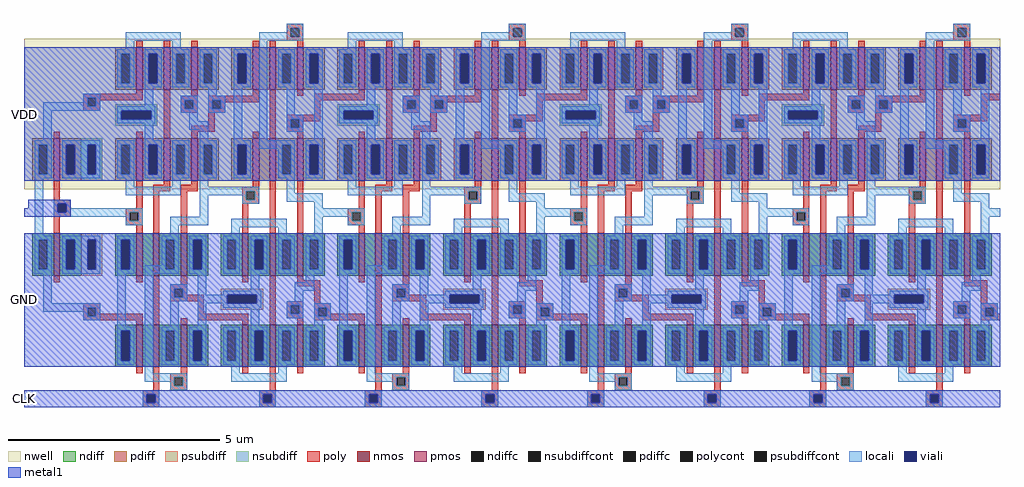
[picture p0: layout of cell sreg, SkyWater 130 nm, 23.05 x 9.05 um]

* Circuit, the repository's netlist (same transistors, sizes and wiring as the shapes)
* SPICE3 file created from sreg.ext - technology: sky130A

.subckt sreginv a_n400_820# a_n370_850# a_n500_850# w_n540_1260#
X0 a_n370_850# a_n400_820# a_n500_850# a_n370_850# sky130_fd_pr__nfet_01v8 ad=0.5 pd=3 as=0.5 ps=3 w=1 l=0.15
X1 w_n540_1260# a_n400_820# a_n500_850# w_n540_1260# sky130_fd_pr__pfet_01v8 ad=0.5 pd=3 as=0.5 ps=3 w=1 l=0.15
.ends

.subckt negdff3 D Db1 Db2 Q Qb1 VP VN a_20_230#
X0 a_570_1300# a_100_850# VP VP sky130_fd_pr__pfet_01v8 ad=0.125 pd=1.25 as=0.5 ps=3 w=1 l=0.15
X1 VP Q Qb1 VP sky130_fd_pr__pfet_01v8 ad=0.5 pd=3 as=0.25 ps=1.5 w=1 l=0.15
X2 Qb1 a_20_230# a_570_1730# VP sky130_fd_pr__pfet_01v8 ad=0.25 pd=1.5 as=0.125 ps=1.25 w=1 l=0.15
X3 VP Qb1 Q VP sky130_fd_pr__pfet_01v8 ad=0.5 pd=3 as=0.25 ps=1.5 w=1 l=0.15
X4 VN a_100_420# a_100_850# VN sky130_fd_pr__nfet_01v8 ad=0.5 pd=3 as=0.25 ps=1.5 w=1 l=0.15
X5 a_100_420# a_100_850# a_n110_1730# VP sky130_fd_pr__pfet_01v8 ad=0.5 pd=3 as=0.25 ps=1.5 w=1 l=0.15
X6 VN a_100_850# a_390_850# VN sky130_fd_pr__nfet_01v8 ad=0.25 pd=1.5 as=0.5 ps=3 w=1 l=0.15
X7 Q a_20_230# a_570_1300# VP sky130_fd_pr__pfet_01v8 ad=0.25 pd=1.5 as=0.125 ps=1.25 w=1 l=0.15
X8 VN a_100_850# a_100_420# VN sky130_fd_pr__nfet_01v8 ad=0.5 pd=3 as=0.25 ps=1.5 w=1 l=0.15
X9 a_n110_1730# a_20_230# VP VP sky130_fd_pr__pfet_01v8 ad=0.25 pd=1.5 as=0.25 ps=1.5 w=1 l=0.15
X10 a_100_850# a_20_230# a_20_850# VN sky130_fd_pr__nfet_01v8 ad=0.25 pd=1.5 as=0.125 ps=1.25 w=1 l=0.15
X11 a_100_850# a_100_420# a_n110_1300# VP sky130_fd_pr__pfet_01v8 ad=0.5 pd=3 as=0.25 ps=1.5 w=1 l=0.15
X12 Q Qb1 a_390_850# VN sky130_fd_pr__nfet_01v8 ad=0.5 pd=3 as=0.25 ps=1.5 w=1 l=0.15
X13 VN a_100_420# a_390_420# VN sky130_fd_pr__nfet_01v8 ad=0.25 pd=1.5 as=0.5 ps=3 w=1 l=0.15
X14 VP Db1 a_n110_1730# VP sky130_fd_pr__pfet_01v8 ad=0.25 pd=1.5 as=0.5 ps=3 w=1 l=0.15
X15 a_390_850# a_20_230# VN VN sky130_fd_pr__nfet_01v8 ad=0.25 pd=1.5 as=0.25 ps=1.5 w=1 l=0.15
X16 a_n110_1300# a_20_230# VP VP sky130_fd_pr__pfet_01v8 ad=0.25 pd=1.5 as=0.25 ps=1.5 w=1 l=0.15
X17 a_20_850# D VN VN sky130_fd_pr__nfet_01v8 ad=0.125 pd=1.25 as=0.5 ps=3 w=1 l=0.15
X18 a_100_420# a_20_230# a_20_420# VN sky130_fd_pr__nfet_01v8 ad=0.25 pd=1.5 as=0.125 ps=1.25 w=1 l=0.15
X19 Qb1 Q a_390_420# VN sky130_fd_pr__nfet_01v8 ad=0.5 pd=3 as=0.25 ps=1.5 w=1 l=0.15
X20 VP D a_n110_1300# VP sky130_fd_pr__pfet_01v8 ad=0.25 pd=1.5 as=0.5 ps=3 w=1 l=0.15
X21 a_390_420# a_20_230# VN VN sky130_fd_pr__nfet_01v8 ad=0.25 pd=1.5 as=0.25 ps=1.5 w=1 l=0.15
X22 a_20_420# Db2 VN VN sky130_fd_pr__nfet_01v8 ad=0.125 pd=1.25 as=0.5 ps=3 w=1 l=0.15
X23 a_570_1730# a_100_420# VP VP sky130_fd_pr__pfet_01v8 ad=0.125 pd=1.25 as=0.5 ps=3 w=1 l=0.15
.ends


Xsreginv_0 negdff3_0/D GND negdff3_0/Db2 VDD sreginv
Xnegdff3_0 negdff3_0/D negdff3_0/Db2 negdff3_0/Db2 negdff3_1/D negdff3_1/Db2 VDD GND
+ CLK negdff3
Xnegdff3_1 negdff3_1/D negdff3_1/Db2 negdff3_1/Db2 negdff3_2/D negdff3_2/Db2 VDD GND
+ CLK negdff3
Xnegdff3_2 negdff3_2/D negdff3_2/Db2 negdff3_2/Db2 negdff3_3/D negdff3_3/Db2 VDD GND
+ CLK negdff3
Xnegdff3_3 negdff3_3/D negdff3_3/Db2 negdff3_3/Db2 negdff3_3/Q negdff3_3/Qb1 VDD GND
+ CLK negdff3
.ends

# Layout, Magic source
magic
tech sky130A
<< locali >>
rect 425 865 465 905
rect 950 865 990 905
rect 1475 865 1515 905
rect 2000 865 2040 905
<< metal1 >>
rect -195 535 -175 850
rect -195 450 -175 470
rect -195 95 -175 410
rect -195 0 10 40
use negdff3  negdff3_0
transform 1 0 75 0 1 -115
box -75 115 460 1020
use negdff3  negdff3_1
transform 1 0 600 0 1 -115
box -75 115 460 1020
use negdff3  negdff3_2
transform 1 0 1125 0 1 -115
box -75 115 460 1020
use negdff3  negdff3_3
transform 1 0 1650 0 1 -115
box -75 115 460 1020
use sreginv  sreginv_0
transform 1 0 75 0 1 -115
box -270 210 -65 985
<< labels >>
flabel metal1 -195 20 -195 20 7 FreeSans 80 0 -40 0 CLK
flabel metal1 -195 255 -195 255 7 FreeSans 80 0 -40 0 GND
flabel metal1 -195 690 -195 690 7 FreeSans 80 0 -40 0 VDD
<< end >>

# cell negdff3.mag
magic
tech sky130A
<< nwell >>
rect -75 630 460 985
<< nmos >>
rect -5 425 10 525
rect 35 425 50 525
rect 100 425 115 525
rect 245 425 260 525
rect 310 425 325 525
rect 375 425 390 525
rect -5 210 10 310
rect 35 210 50 310
rect 100 210 115 310
rect 245 210 260 310
rect 310 210 325 310
rect 375 210 390 310
<< pmos >>
rect -5 865 10 965
rect 60 865 75 965
rect 125 865 140 965
rect 270 865 285 965
rect 310 865 325 965
rect 375 865 390 965
rect -5 650 10 750
rect 60 650 75 750
rect 125 650 140 750
rect 270 650 285 750
rect 310 650 325 750
rect 375 650 390 750
<< ndiff >>
rect -55 510 -5 525
rect -55 440 -40 510
rect -20 440 -5 510
rect -55 425 -5 440
rect 10 425 35 525
rect 50 510 100 525
rect 50 440 65 510
rect 85 440 100 510
rect 50 425 100 440
rect 115 510 165 525
rect 115 440 130 510
rect 150 440 165 510
rect 115 425 165 440
rect 195 510 245 525
rect 195 440 210 510
rect 230 440 245 510
rect 195 425 245 440
rect 260 510 310 525
rect 260 440 275 510
rect 295 440 310 510
rect 260 425 310 440
rect 325 510 375 525
rect 325 440 340 510
rect 360 440 375 510
rect 325 425 375 440
rect 390 510 440 525
rect 390 440 405 510
rect 425 440 440 510
rect 390 425 440 440
rect -55 295 -5 310
rect -55 225 -40 295
rect -20 225 -5 295
rect -55 210 -5 225
rect 10 210 35 310
rect 50 295 100 310
rect 50 225 65 295
rect 85 225 100 295
rect 50 210 100 225
rect 115 295 165 310
rect 115 225 130 295
rect 150 225 165 295
rect 115 210 165 225
rect 195 295 245 310
rect 195 225 210 295
rect 230 225 245 295
rect 195 210 245 225
rect 260 295 310 310
rect 260 225 275 295
rect 295 225 310 295
rect 260 210 310 225
rect 325 295 375 310
rect 325 225 340 295
rect 360 225 375 295
rect 325 210 375 225
rect 390 295 440 310
rect 390 225 405 295
rect 425 225 440 295
rect 390 210 440 225
<< pdiff >>
rect -55 950 -5 965
rect -55 880 -40 950
rect -20 880 -5 950
rect -55 865 -5 880
rect 10 950 60 965
rect 10 880 25 950
rect 45 880 60 950
rect 10 865 60 880
rect 75 950 125 965
rect 75 880 90 950
rect 110 880 125 950
rect 75 865 125 880
rect 140 950 190 965
rect 140 880 155 950
rect 175 880 190 950
rect 140 865 190 880
rect 220 950 270 965
rect 220 880 235 950
rect 255 880 270 950
rect 220 865 270 880
rect 285 865 310 965
rect 325 950 375 965
rect 325 880 340 950
rect 360 880 375 950
rect 325 865 375 880
rect 390 950 440 965
rect 390 880 405 950
rect 425 880 440 950
rect 390 865 440 880
rect -55 735 -5 750
rect -55 665 -40 735
rect -20 665 -5 735
rect -55 650 -5 665
rect 10 735 60 750
rect 10 665 25 735
rect 45 665 60 735
rect 10 650 60 665
rect 75 735 125 750
rect 75 665 90 735
rect 110 665 125 735
rect 75 650 125 665
rect 140 735 190 750
rect 140 665 155 735
rect 175 665 190 735
rect 140 650 190 665
rect 220 735 270 750
rect 220 665 235 735
rect 255 665 270 735
rect 220 650 270 665
rect 285 650 310 750
rect 325 735 375 750
rect 325 665 340 735
rect 360 665 375 735
rect 325 650 375 665
rect 390 735 440 750
rect 390 665 405 735
rect 425 665 440 735
rect 390 650 440 665
<< ndiffc >>
rect -40 440 -20 510
rect 65 440 85 510
rect 130 440 150 510
rect 210 440 230 510
rect 275 440 295 510
rect 340 440 360 510
rect 405 440 425 510
rect -40 225 -20 295
rect 65 225 85 295
rect 130 225 150 295
rect 210 225 230 295
rect 275 225 295 295
rect 340 225 360 295
rect 405 225 425 295
<< pdiffc >>
rect -40 880 -20 950
rect 25 880 45 950
rect 90 880 110 950
rect 155 880 175 950
rect 235 880 255 950
rect 340 880 360 950
rect 405 880 425 950
rect -40 665 -20 735
rect 25 665 45 735
rect 90 665 110 735
rect 155 665 175 735
rect 235 665 255 735
rect 340 665 360 735
rect 405 665 425 735
<< psubdiff >>
rect 195 380 295 395
rect 195 360 210 380
rect 280 360 295 380
rect 195 345 295 360
<< nsubdiff >>
rect -55 815 45 830
rect -55 795 -40 815
rect 30 795 45 815
rect -55 780 45 795
<< psubdiffcont >>
rect 210 360 280 380
<< nsubdiffcont >>
rect -40 795 30 815
<< poly >>
rect 350 1010 390 1020
rect 350 990 360 1010
rect 380 990 390 1010
rect 350 980 390 990
rect -5 965 10 980
rect 60 965 75 980
rect 125 965 140 980
rect 270 965 285 980
rect 310 965 325 980
rect 375 965 390 980
rect -5 855 10 865
rect -65 840 10 855
rect -5 750 10 765
rect 60 750 75 865
rect 125 850 140 865
rect 270 850 285 865
rect 100 840 140 850
rect 100 820 110 840
rect 130 820 140 840
rect 100 810 140 820
rect 165 840 285 850
rect 165 820 175 840
rect 195 835 285 840
rect 195 820 205 835
rect 165 810 205 820
rect 165 780 180 810
rect 125 765 180 780
rect 125 750 140 765
rect 270 750 285 765
rect 310 750 325 865
rect 375 850 390 865
rect 415 840 460 855
rect 415 805 430 840
rect 350 795 430 805
rect 350 775 360 795
rect 380 790 430 795
rect 380 775 390 790
rect 350 765 390 775
rect 375 750 390 765
rect -5 585 10 650
rect 60 640 75 650
rect 125 640 140 650
rect -30 575 10 585
rect -30 555 -20 575
rect 0 555 10 575
rect -30 545 10 555
rect -5 525 10 545
rect 35 625 75 640
rect 100 625 140 640
rect 270 635 285 650
rect 245 625 285 635
rect 35 525 50 625
rect 100 525 115 625
rect 245 605 255 625
rect 275 605 285 625
rect 245 595 285 605
rect 245 525 260 595
rect 310 525 325 650
rect 375 525 390 650
rect -5 410 10 425
rect -65 320 10 335
rect -5 310 10 320
rect 35 310 50 425
rect 100 405 115 425
rect 245 410 260 425
rect 75 395 115 405
rect 75 375 85 395
rect 105 380 115 395
rect 105 375 155 380
rect 75 365 155 375
rect 140 335 155 365
rect 100 310 115 325
rect 140 320 260 335
rect 245 310 260 320
rect 310 310 325 425
rect 375 415 390 425
rect 375 400 430 415
rect 350 355 390 365
rect 350 335 360 355
rect 380 335 390 355
rect 350 325 390 335
rect 375 310 390 325
rect 415 360 430 400
rect 415 350 455 360
rect 415 330 425 350
rect 445 335 455 350
rect 445 330 460 335
rect 415 320 460 330
rect -5 195 10 210
rect 35 155 50 210
rect 100 195 115 210
rect 245 195 260 210
rect 75 185 115 195
rect 75 165 85 185
rect 105 165 115 185
rect 75 155 115 165
rect 310 155 325 210
rect 375 195 390 210
rect 10 145 50 155
rect 10 125 20 145
rect 40 125 50 145
rect 10 115 50 125
rect 285 145 325 155
rect 285 125 295 145
rect 315 125 325 145
rect 285 115 325 125
<< polycont >>
rect 360 990 380 1010
rect 110 820 130 840
rect 175 820 195 840
rect 360 775 380 795
rect -20 555 0 575
rect 255 605 275 625
rect 85 375 105 395
rect 360 335 380 355
rect 425 330 445 350
rect 85 165 105 185
rect 20 125 40 145
rect 295 125 315 145
<< locali >>
rect 350 1010 390 1020
rect 350 1000 360 1010
rect -30 980 100 1000
rect -30 960 -10 980
rect 80 960 100 980
rect 285 990 360 1000
rect 380 990 390 1010
rect 285 980 390 990
rect -50 950 -10 960
rect -50 880 -40 950
rect -20 880 -10 950
rect -50 870 -10 880
rect 15 950 55 960
rect 15 880 25 950
rect 45 880 55 950
rect 15 870 55 880
rect 80 950 120 960
rect 80 880 90 950
rect 110 880 120 950
rect 80 870 120 880
rect 145 950 185 960
rect 145 880 155 950
rect 175 880 185 950
rect 145 870 185 880
rect 15 825 35 870
rect 165 850 185 870
rect 225 950 265 960
rect 225 880 235 950
rect 255 880 265 950
rect 225 870 265 880
rect 100 840 140 850
rect -50 815 40 825
rect -50 795 -40 815
rect 30 795 40 815
rect 100 820 110 840
rect 130 820 140 840
rect 100 810 140 820
rect 165 840 205 850
rect 165 820 175 840
rect 195 820 205 840
rect 165 810 205 820
rect -50 785 40 795
rect 120 790 140 810
rect 15 745 35 785
rect 120 770 165 790
rect 145 745 165 770
rect 225 745 245 870
rect 285 745 305 980
rect 330 950 370 960
rect 330 880 340 950
rect 360 880 370 950
rect 330 870 370 880
rect 395 950 435 960
rect 395 880 405 950
rect 425 880 435 950
rect 395 870 435 880
rect 350 805 370 870
rect 350 795 390 805
rect 350 775 360 795
rect 380 775 390 795
rect 350 765 390 775
rect 415 745 435 870
rect -50 735 -10 745
rect -50 665 -40 735
rect -20 665 -10 735
rect -50 655 -10 665
rect 15 735 55 745
rect 15 665 25 735
rect 45 665 55 735
rect 15 655 55 665
rect 80 735 120 745
rect 80 665 90 735
rect 110 665 120 735
rect 80 655 120 665
rect 145 735 185 745
rect 145 665 155 735
rect 175 665 185 735
rect 145 655 185 665
rect 225 735 265 745
rect 225 665 235 735
rect 255 665 265 735
rect 285 735 370 745
rect 285 725 340 735
rect 225 655 265 665
rect 330 665 340 725
rect 360 665 370 735
rect 330 655 370 665
rect 395 735 435 745
rect 395 665 405 735
rect 425 665 435 735
rect 395 655 435 665
rect -30 635 -10 655
rect 80 635 100 655
rect -30 615 100 635
rect 145 635 165 655
rect 145 625 285 635
rect 145 615 255 625
rect -70 575 10 585
rect -70 565 -20 575
rect -30 555 -20 565
rect 0 555 10 575
rect 145 565 165 615
rect 245 605 255 615
rect 275 605 285 625
rect 245 595 285 605
rect 350 620 370 655
rect 350 600 435 620
rect -30 545 10 555
rect 75 545 165 565
rect 415 585 435 600
rect 415 565 460 585
rect 75 520 95 545
rect 220 540 350 560
rect 220 520 240 540
rect 330 520 350 540
rect 415 520 435 565
rect -50 510 -10 520
rect -50 440 -40 510
rect -20 440 -10 510
rect 55 510 95 520
rect 55 450 65 510
rect -50 430 -10 440
rect 15 440 65 450
rect 85 440 95 510
rect 15 430 95 440
rect 120 510 160 520
rect 120 440 130 510
rect 150 440 160 510
rect 120 430 160 440
rect 200 510 240 520
rect 200 440 210 510
rect 230 440 240 510
rect 200 430 240 440
rect 265 510 305 520
rect 265 440 275 510
rect 295 440 305 510
rect 265 430 305 440
rect 330 510 370 520
rect 330 440 340 510
rect 360 440 370 510
rect 330 430 370 440
rect 395 510 435 520
rect 395 440 405 510
rect 425 440 435 510
rect 395 430 435 440
rect -50 305 -30 430
rect -50 295 -10 305
rect -50 225 -40 295
rect -20 225 -10 295
rect -50 215 -10 225
rect 15 195 35 430
rect 75 395 115 405
rect 75 375 85 395
rect 105 375 115 395
rect 75 365 115 375
rect 140 380 160 430
rect 265 390 285 430
rect 395 410 415 430
rect 370 390 415 410
rect 200 380 290 390
rect 75 305 95 365
rect 140 360 210 380
rect 280 360 290 380
rect 370 365 390 390
rect 140 305 160 360
rect 200 350 290 360
rect 350 355 390 365
rect 265 305 285 350
rect 350 335 360 355
rect 380 335 390 355
rect 350 325 390 335
rect 415 350 455 360
rect 415 330 425 350
rect 445 330 455 350
rect 415 320 455 330
rect 415 305 435 320
rect 55 295 95 305
rect 55 225 65 295
rect 85 225 95 295
rect 55 215 95 225
rect 120 295 160 305
rect 120 225 130 295
rect 150 225 160 295
rect 120 215 160 225
rect 200 295 240 305
rect 200 225 210 295
rect 230 225 240 295
rect 200 215 240 225
rect 265 295 305 305
rect 265 225 275 295
rect 295 225 305 295
rect 265 215 305 225
rect 330 295 370 305
rect 330 225 340 295
rect 360 225 370 295
rect 330 215 370 225
rect 395 295 435 305
rect 395 225 405 295
rect 425 225 435 295
rect 395 215 435 225
rect 220 195 240 215
rect 330 195 350 215
rect 15 185 115 195
rect 15 175 85 185
rect 75 165 85 175
rect 105 165 115 185
rect 220 175 350 195
rect 75 155 115 165
rect 10 145 50 155
rect 10 125 20 145
rect 40 125 50 145
rect 10 115 50 125
rect 285 145 325 155
rect 285 125 295 145
rect 315 125 325 145
rect 285 115 325 125
<< viali >>
rect 25 880 45 950
rect 235 880 255 950
rect -40 795 30 815
rect 405 880 425 950
rect 25 665 45 735
rect 235 665 255 735
rect 405 665 425 735
rect -40 440 -20 510
rect 130 440 150 510
rect 275 440 295 510
rect -40 225 -20 295
rect 210 360 280 380
rect 130 225 150 295
rect 275 225 295 295
rect 20 125 40 145
rect 295 125 315 145
<< metal1 >>
rect -65 950 460 965
rect -65 880 25 950
rect 45 880 235 950
rect 255 880 405 950
rect 425 880 460 950
rect -65 815 460 880
rect -65 795 -40 815
rect 30 795 460 815
rect -65 735 460 795
rect -65 665 25 735
rect 45 665 235 735
rect 255 665 405 735
rect 425 665 460 735
rect -65 650 460 665
rect -65 510 460 525
rect -65 440 -40 510
rect -20 440 130 510
rect 150 440 275 510
rect 295 440 460 510
rect -65 380 460 440
rect -65 360 210 380
rect 280 360 460 380
rect -65 295 460 360
rect -65 225 -40 295
rect -20 225 130 295
rect 150 225 275 295
rect 295 225 460 295
rect -65 210 460 225
rect -65 145 460 155
rect -65 125 20 145
rect 40 125 295 145
rect 315 125 460 145
rect -65 115 460 125
<< labels >>
flabel poly -65 845 -65 845 7 FreeSans 80 0 -40 0 Db1
port 2 w
flabel metal1 -65 805 -65 805 7 FreeSans 80 0 -40 0 VP
port 7 w
flabel metal1 -65 370 -65 370 7 FreeSans 80 0 -40 0 VN
port 8 w
flabel poly -65 325 -65 325 7 FreeSans 80 0 -40 0 Db2
port 3 w
flabel space -65 135 -65 135 7 FreeSans 80 0 -40 0 CLK
port 6 w
flabel poly 460 845 460 845 3 FreeSans 80 0 40 0 Qb1
port 5 e
flabel locali -70 575 -70 575 7 FreeSans 80 0 -40 0 D
port 1 w
flabel locali 460 575 460 575 3 FreeSans 80 0 40 0 Q
port 4 e
<< end >>

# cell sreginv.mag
magic
tech sky130A
<< nwell >>
rect -270 630 -65 985
<< nmos >>
rect -200 425 -185 525
<< pmos >>
rect -200 650 -185 750
<< ndiff >>
rect -250 510 -200 525
rect -250 440 -235 510
rect -215 440 -200 510
rect -250 425 -200 440
rect -185 510 -135 525
rect -185 440 -170 510
rect -150 440 -135 510
rect -185 425 -135 440
<< pdiff >>
rect -250 735 -200 750
rect -250 665 -235 735
rect -215 665 -200 735
rect -250 650 -200 665
rect -185 735 -135 750
rect -185 665 -170 735
rect -150 665 -135 735
rect -185 650 -135 665
<< ndiffc >>
rect -235 440 -215 510
rect -170 440 -150 510
<< pdiffc >>
rect -235 665 -215 735
rect -170 665 -150 735
<< psubdiff >>
rect -135 510 -85 525
rect -135 440 -120 510
rect -100 440 -85 510
rect -135 425 -85 440
<< nsubdiff >>
rect -135 735 -85 750
rect -135 665 -120 735
rect -100 665 -85 735
rect -135 650 -85 665
<< psubdiffcont >>
rect -120 440 -100 510
<< nsubdiffcont >>
rect -120 665 -100 735
<< poly >>
rect -130 845 -65 855
rect -130 825 -120 845
rect -100 840 -65 845
rect -100 825 -90 840
rect -130 815 -90 825
rect -200 750 -185 765
rect -200 605 -185 650
rect -200 595 -160 605
rect -200 575 -190 595
rect -170 575 -160 595
rect -200 565 -160 575
rect -200 525 -185 565
rect -200 410 -185 425
rect -130 350 -90 360
rect -130 330 -120 350
rect -100 335 -90 350
rect -100 330 -65 335
rect -130 320 -65 330
<< polycont >>
rect -120 825 -100 845
rect -190 575 -170 595
rect -120 330 -100 350
<< locali >>
rect -130 845 -90 855
rect -130 835 -120 845
rect -225 825 -120 835
rect -100 825 -90 845
rect -225 815 -90 825
rect -225 745 -205 815
rect -245 735 -205 745
rect -245 665 -235 735
rect -215 665 -205 735
rect -245 655 -205 665
rect -180 735 -90 745
rect -180 665 -170 735
rect -150 665 -120 735
rect -100 665 -90 735
rect -180 655 -90 665
rect -245 520 -225 655
rect -200 595 -160 605
rect -200 575 -190 595
rect -170 585 -160 595
rect -170 575 -65 585
rect -200 565 -65 575
rect -245 510 -205 520
rect -245 440 -235 510
rect -215 440 -205 510
rect -245 430 -205 440
rect -180 510 -90 520
rect -180 440 -170 510
rect -150 440 -120 510
rect -100 440 -90 510
rect -180 430 -90 440
rect -225 360 -205 430
rect -225 350 -90 360
rect -225 340 -120 350
rect -130 330 -120 340
rect -100 330 -90 350
rect -130 320 -90 330
<< viali >>
rect -170 665 -150 735
rect -120 665 -100 735
rect -190 575 -170 595
rect -170 440 -150 510
rect -120 440 -100 510
<< metal1 >>
rect -270 735 -65 965
rect -270 665 -170 735
rect -150 665 -120 735
rect -100 665 -65 735
rect -270 650 -65 665
rect -260 595 -160 605
rect -260 575 -190 595
rect -170 575 -160 595
rect -260 565 -160 575
rect -260 510 -65 525
rect -260 440 -170 510
rect -150 440 -120 510
rect -100 440 -65 510
rect -260 210 -65 440
<< end >>
